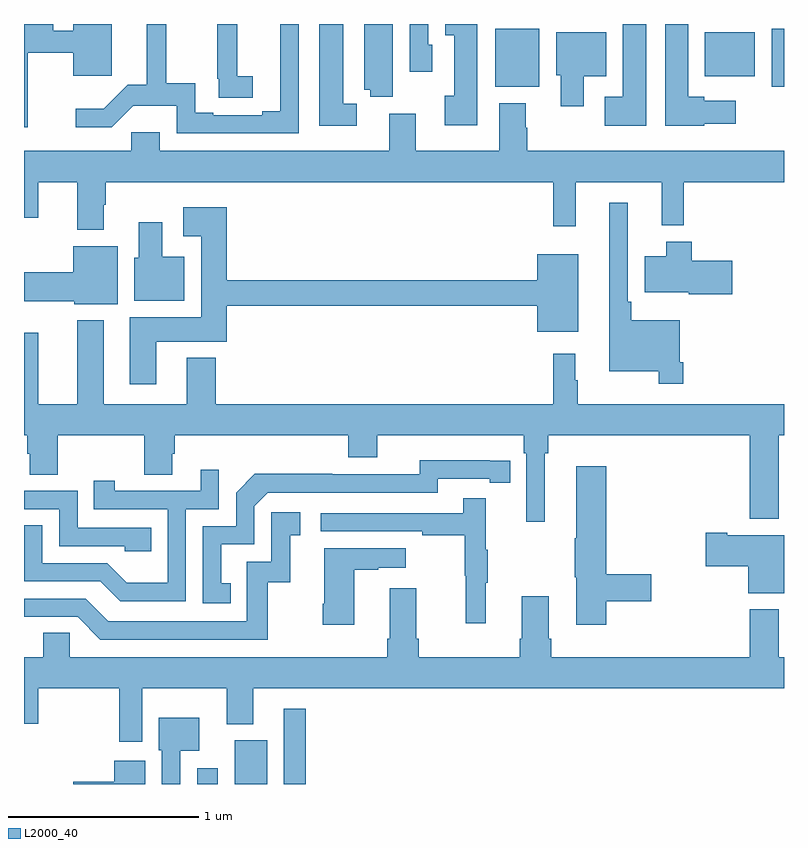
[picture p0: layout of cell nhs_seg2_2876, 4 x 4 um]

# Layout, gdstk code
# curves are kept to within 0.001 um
import gdstk
lib = gdstk.Library(unit=1e-6, precision=1e-09)
def R(c, l, rs):  # rectangles x0, y0, x1, y1
    for r in rs: c.add(gdstk.rectangle(r[:2], r[2:], *l))
def P(c, l, *ps):  # polygons
    for p in ps: c.add(gdstk.Polygon(p, *l))
L2000_40 = (2000, 40)

nhs_seg2_2876 = lib.new_cell('nhs_seg2_2876')
R(nhs_seg2_2876, L2000_40, [(261.911,645.8,262.021,645.883), (262.109,645.8,262.279,646.03), (262.368,645.8,262.484,646.195), (263.48,649.469,263.713,649.774), (264.935,649.469,265,649.774), (264.584,649.526,264.847,649.756)])
P(nhs_seg2_2876, L2000_40, [(262.75,649.38),(262.681,649.38),(262.681,649.8),(262.553,649.8),(262.553,649.265),(262.75,649.265)],
  [(262.446,649.8),(262.348,649.8),(262.349,649.34),(262.253,649.34),(262.253,649.32),(261.997,649.32),(261.997,649.334),(261.9,649.334),(261.9,649.487),(261.749,649.487),(261.749,649.8),(261.647,649.8),(261.647,649.48),(261.547,649.48),(261.421,649.354),(261.273,649.354),(261.273,649.257),(261.462,649.257),(261.575,649.37),(261.804,649.37),(261.804,649.224),(262.446,649.224)],
  [(261.019,649.648),(261.26,649.648),(261.26,649.527),(261.463,649.527),(261.463,649.8),(261.26,649.8),(261.26,649.765),(261.154,649.765),(261.154,649.8),(261,649.8),(261,649.257),(261.019,649.257)],
  [(264.274,649.8),(264.152,649.8),(264.152,649.417),(264.057,649.417),(264.057,649.265),(264.274,649.265)],
  [(264.579,649.274),(264.745,649.274),(264.745,649.396),(264.579,649.396),(264.579,649.417),(264.496,649.417),(264.496,649.8),(264.374,649.8),(264.374,649.265),(264.579,649.265)],
  [(263.386,649.8),(263.217,649.8),(263.217,649.742),(263.264,649.742),(263.264,649.422),(263.214,649.422),(263.214,649.266),(263.386,649.266)],
  [(263.148,649.692),(263.127,649.692),(263.127,649.8),(263.031,649.8),(263.031,649.548),(263.148,649.548)],
  [(262.204,649.526),(262.122,649.526),(262.122,649.8),(262.018,649.8),(262.018,649.513),(262.024,649.513),(262.024,649.411),(262.204,649.411)],
  [(262.942,649.8),(262.79,649.8),(262.79,649.454),(262.822,649.454),(262.822,649.417),(262.942,649.417)],
  [(263.947,649.526),(264.064,649.526),(264.064,649.756),(263.801,649.756),(263.801,649.53),(263.825,649.53),(263.825,649.368),(263.947,649.368)],
  [(261.421,648.848),(261.429,648.848),(261.429,648.968),(263.785,648.968),(263.785,648.735),(263.903,648.735),(263.903,648.968),(264.356,648.968),(264.356,648.74),(264.473,648.74),(264.473,648.968),(265,648.968),(265,649.132),(263.649,649.132),(263.649,649.253),(263.641,649.253),(263.641,649.384),(263.501,649.384),(263.501,649.132),(263.062,649.132),(263.062,649.327),(262.922,649.327),(262.922,649.132),(261.715,649.132),(261.715,649.23),(261.564,649.23),(261.564,649.132),(261,649.132),(261,648.78),(261.076,648.78),(261.076,648.968),(261.281,648.968),(261.281,648.716),(261.421,648.716)],
  [(264.47,648.019),(264.45,648.019),(264.45,648.241),(264.197,648.241),(264.197,648.337),(264.177,648.337),(264.177,648.859),(264.08,648.859),(264.08,647.972),(264.342,647.972),(264.342,647.907),(264.47,647.907)],
  [(261.697,648.128),(262.067,648.128),(262.067,648.316),(263.702,648.316),(263.702,648.179),(263.917,648.179),(263.917,648.589),(263.702,648.589),(263.702,648.452),(262.067,648.452),(262.067,648.835),(261.837,648.835),(261.837,648.683),(261.932,648.683),(261.932,648.256),(261.557,648.256),(261.557,647.904),(261.697,647.904)],
  [(261.844,648.574),(261.727,648.574),(261.727,648.757),(261.605,648.757),(261.605,648.57),(261.581,648.57),(261.581,648.344),(261.844,648.344)],
  [(264.727,648.555),(264.515,648.555),(264.515,648.655),(264.38,648.655),(264.38,648.577),(264.266,648.577),(264.266,648.389),(264.498,648.389),(264.498,648.377),(264.727,648.377)],
  [(261.493,648.631),(261.26,648.631),(261.26,648.493),(261,648.493),(261,648.341),(261.264,648.341),(261.264,648.326),(261.493,648.326)],
  [(261.634,647.428),(261.781,647.428),(261.781,647.538),(261.794,647.538),(261.794,647.636),(262.706,647.636),(262.706,647.519),(262.858,647.519),(262.858,647.636),(263.63,647.636),(263.63,647.54),(263.643,647.54),(263.643,647.181),(263.74,647.181),(263.74,647.54),(263.759,647.54),(263.759,647.636),(264.821,647.636),(264.821,647.195),(264.973,647.195),(264.973,647.636),(265,647.636),(265,647.8),(263.914,647.8),(263.914,647.924),(263.902,647.924),(263.902,648.064),(263.785,648.064),(263.785,647.8),(262.01,647.8),(262.01,648.043),(261.857,648.043),(261.857,647.8),(261.421,647.8),(261.421,648.241),(261.281,648.241),(261.281,647.8),(261.076,647.8),(261.076,648.175),(261,648.175),(261,647.636),(261.017,647.636),(261.017,647.538),(261.029,647.538),(261.029,647.428),(261.177,647.428),(261.177,647.636),(261.634,647.636)],
  [(262.088,646.857),(262.039,646.857),(262.039,647.061),(262.212,647.061),(262.212,647.262),(262.284,647.334),(263.178,647.334),(263.178,647.406),(263.45,647.406),(263.45,647.386),(263.558,647.386),(263.558,647.502),(263.082,647.503),(263.082,647.43),(262.622,647.43),(262.622,647.432),(262.214,647.432),(262.116,647.334),(262.116,647.157),(261.942,647.157),(261.942,646.752),(262.088,646.752)],
  [(264.065,646.762),(264.301,646.762),(264.301,646.904),(264.065,646.904),(264.065,647.473),(263.906,647.473),(263.906,647.093),(263.899,647.093),(263.899,646.887),(263.906,646.887),(263.906,646.638),(264.065,646.638)],
  [(261.852,647.247),(262.026,647.247),(262.026,647.455),(261.929,647.455),(261.929,647.343),(261.478,647.343),(261.478,647.395),(261.367,647.395),(261.367,647.247),(261.756,647.247),(261.756,646.858),(261.542,646.858),(261.438,646.962),(261.096,646.962),(261.096,647.161),(261,647.161),(261,646.866),(261.401,646.866),(261.506,646.761),(261.852,646.761)],
  [(261.671,647.148),(261.282,647.148),(261.282,647.343),(261,647.343),(261,647.247),(261.186,647.247),(261.186,647.052),(261.531,647.052),(261.531,647.025),(261.671,647.025)],
  [(263.429,646.859),(263.44,646.859),(263.44,647.033),(263.429,647.033),(263.429,647.305),(263.311,647.305),(263.311,647.226),(262.563,647.226),(262.563,647.13),(263.095,647.13),(263.095,647.11),(263.319,647.11),(263.319,646.896),(263.326,646.896),(263.326,646.647),(263.429,646.647)],
  [(262.282,646.863),(262.4,646.863),(262.4,647.109),(262.453,647.109),(262.453,647.23),(262.302,647.23),(262.302,646.971),(262.173,646.971),(262.173,646.656),(261.444,646.656),(261.324,646.776),(261,646.776),(261,646.68),(261.282,646.68),(261.402,646.56),(262.282,646.56)],
  [(265,647.11),(264.7,647.11),(264.7,647.123),(264.588,647.123),(264.588,646.945),(264.812,646.945),(264.812,646.805),(265,646.805)],
  [(262.738,646.927),(262.865,646.927),(262.865,646.937),(263.008,646.937),(263.008,647.041),(262.58,647.041),(262.58,646.75),(262.573,646.75),(262.573,646.638),(262.738,646.638)],
  [(261.622,646.304),(262.067,646.304),(262.067,646.115),(262.207,646.115),(262.207,646.304),(265,646.304),(265,646.468),(264.973,646.468),(264.973,646.72),(264.821,646.72),(264.821,646.468),(263.774,646.468),(263.774,646.564),(263.761,646.564),(263.761,646.789),(263.621,646.789),(263.621,646.564),(263.609,646.564),(263.609,646.468),(263.078,646.468),(263.078,646.564),(263.065,646.564),(263.065,646.831),(262.925,646.831),(262.925,646.564),(262.913,646.564),(262.913,646.468),(261.24,646.468),(261.24,646.595),(261.101,646.595),(261.101,646.468),(261,646.468),(261,646.116),(261.076,646.116),(261.076,646.304),(261.502,646.304),(261.502,646.023),(261.622,646.023)],
  [(261.822,645.974),(261.922,645.974),(261.922,646.15),(261.71,646.15),(261.71,645.978),(261.726,645.978),(261.726,645.8),(261.822,645.8)],
  [(261.637,645.922),(261.476,645.922),(261.476,645.812),(261.258,645.812),(261.258,645.8),(261.637,645.8)])

lib.write_gds('nhs_seg2_2876.gds')
